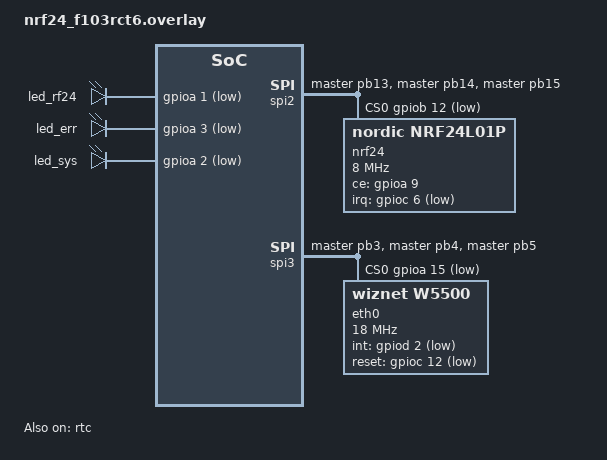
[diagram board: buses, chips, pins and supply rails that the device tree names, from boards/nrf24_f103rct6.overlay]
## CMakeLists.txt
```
# SPDX-License-Identifier: Apache-2.0

cmake_minimum_required(VERSION 3.20.0)

find_package(Zephyr REQUIRED HINTS $ENV{ZEPHYR_BASE})
project(n2e_gw)

target_include_directories(app PRIVATE include)
target_sources(app PRIVATE
  src/main.c
  src/rf24.c
  src/config.c
  src/persist.c
  src/udp.c
  src/led.c
)
target_sources_ifdef(CONFIG_SHELL app PRIVATE
  src/rf24_shell.c
  src/net_shell.c
)
```

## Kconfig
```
# SPDX-License-Identifier: Apache-2.0
# n2e-gw application configuration

mainmenu "n2e-gw"

source "Kconfig.zephyr"

config N2E_GW_RF24_RX_STACK
	int "RF24 RX thread stack size"
	default 1024

config N2E_GW_RF24_RX_PRIORITY
	int "RF24 RX thread priority"
	default 8

config N2E_GW_DATA_RX_STACK
	int "UDP data RX thread stack size"
	default 1024

config N2E_GW_DATA_RX_PRIORITY
	int "UDP data RX thread priority"
	default 10

config N2E_GW_UDP_TX_STACK
	int "UDP TX thread stack size"
	default 1024

config N2E_GW_UDP_TX_PRIORITY
	int "UDP TX thread priority"
	default 12
	help
	  Must be lower priority (higher number) than config RX (8) and
	  net TC RX thread, so data forwarding yields TX bandwidth to
	  config replies and ICMP echo replies.

config N2E_GW_UDP_INIT_PRIORITY
	int "UDP app handler init priority (must run before udp_fw_upgrade lib)"
	default 80
```

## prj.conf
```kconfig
CONFIG_MAIN_STACK_SIZE=2048
CONFIG_SHELL=y
CONFIG_SERIAL=y
CONFIG_GPIO=y
CONFIG_LOG=y
CONFIG_LOG_DEFAULT_LEVEL=3
CONFIG_LOG_BUFFER_SIZE=4096
CONFIG_LOG_BLOCK_IN_THREAD=y

# 软件栈溢出检测 (Cortex-M3 无 SPLIM, 板级未开 ARM_MPU, 故 HW_STACK_PROTECTION
# 无效; STACK_SENTINEL 在线程栈底埋 magic, 上下文切换/中断退出时检查,
# 踩踏 → K_ERR_STACK_CHK_FAIL → 点亮 PA2 错误灯)
CONFIG_STACK_SENTINEL=y

# SPI + nRF24L01P
CONFIG_SPI=y
CONFIG_NRF24L01P=y

# nRF24 链路层 XXTEA-CTR 加密 (用 rf24 地址作密钥; 须与 angle-handler 同时开关)
CONFIG_NRF24L01P_CRYPT=n

# SPI Flash (MCUBoot)
CONFIG_FLASH=y
CONFIG_SPI_NOR_SFDP_MINIMAL=n
CONFIG_SPI_NOR_FLASH_LAYOUT_PAGE_SIZE=4096
CONFIG_FLASH_MAP=y
CONFIG_IMG_MANAGER=y
CONFIG_STREAM_FLASH=y
CONFIG_REBOOT=y

# CRC
CONFIG_CRC=y

# UDP firmware upgrade library (self-contained: owns config port 8600)
CONFIG_UDP_FW_UPGRADE=y
# net_buf 128B 小分片, 大帧会占满 RX 池; 窗口流水线收益主要来自并发
CONFIG_UDP_FW_DATA_V2_CHUNK=512
CONFIG_UDP_FW_RX_STACK_SIZE=1536

# Settings persistent storage
CONFIG_SETTINGS=y
CONFIG_SETTINGS_RUNTIME=y
CONFIG_FCB=y

# Networking
CONFIG_NETWORKING=y
CONFIG_NET_IPV4=y
CONFIG_NET_UDP=y
CONFIG_NET_SOCKETS=y
CONFIG_POSIX_API=y
CONFIG_NET_L2_ETHERNET=y
CONFIG_NET_ARP=y
# ARP 表加大: 默认 2 时, 不可达 host_ip 的 pending 条目会把上位机/网关的已解析
# 条目挤掉, 引发额外解析延迟 (配合 zephyr ARP pending 队列上限补丁)
CONFIG_NET_ARP_TABLE_SIZE=4
CONFIG_NET_MGMT=y         /* 网络管理子系统; NET_MGMT_EVENT depends on 它 (非 select, 必须显式开) */
CONFIG_NET_MGMT_EVENT=y   /* 网络事件回调 (NET_EVENT_IF_UP 等) */
CONFIG_NET_DHCPV4=y       /* DHCP 客户端 (静态/DHCP 模式切换) */
# 网络缓冲: Ethernet 默认值 14/14/36/36 面向高吞吐多连接, 对本应用过量.
# 但过低 (原先 4/4/8/8) 在 nRF24 数据持续涌入时会引发级联饿死:
#   TX 池 (nRF24转发+ICMP+ARP+配置回复 共享) 耗尽 → sendto 阻塞 →
#   RX TC 线程无法释放 RX net_pkt → RX 池耗尽 → w5500_rx 阻塞 100ms →
#   w5500_thread 冻结 (不处理 SENDOK) → 全线停滞, ping 超时, 配置无响应.
# 8/8/16/16 在最差并发 (数据+ICMP+ARP+配置各 1, 留 2 余量) 下安全, 约增 3KB RAM.
CONFIG_NET_PKT_RX_COUNT=8
CONFIG_NET_PKT_TX_COUNT=8
CONFIG_NET_BUF_RX_COUNT=16
CONFIG_NET_BUF_TX_COUNT=16
# 固件升级 512B 包需 4 个 buf (512/128), 16 个充足; DATA_SIZE 保持默认 128
CONFIG_NET_BUF_DATA_SIZE=128
# 2 socket + DHCP 占 1, 4 足够
CONFIG_NET_MAX_CONN=4
CONFIG_TEST_RANDOM_GENERATOR=y

# hwinfo: 读 STM32 96-bit UID 派生 W5500 唯一 MAC (HWINFO_STM32 默认随 SOC 自动启用)
CONFIG_HWINFO=y
# 启用 ethernet net_mgmt (运行时 SET_MAC_ADDRESS 覆盖设备树 MAC)
CONFIG_NET_L2_ETHERNET_MGMT=y
# 关闭 ethernet 接口自动 up: net_if_post_init 不会自动拉起接口, 使 main 在
# net_if_up 之前处于 admin down, SET_MAC_ADDRESS 才能成功 (否则返回 -EACCES).
# 之后由 main 的 net_init() 手动 net_if_up.
CONFIG_ETH_NET_IF_NO_AUTO_START=y
```

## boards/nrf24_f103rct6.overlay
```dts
/*
 * n2e-gw board overlay for nrf24_f103rct6
 *
 * 硬件: nRF24L01+ (SPI2) <-> W5500 以太网 (SPI3)
 * nRF24 收到的数据通过 W5500 UDP 转发给上位机。
 */

/ {
	chosen {
		zephyr,ethernet = &eth0;
		zephyr,settings-partition = &cfg_partition;
	};

	aliases {
		led-rf24 = &led_rf24;   /* PA1: 2.4G 状态灯 (低电平亮) */
		led-err  = &led_err;    /* PA3: 错误灯 (低电平亮) */
		led-sys  = &led_sys;    /* PA2: 系统灯 (低电平亮) */
	};

	gpio_leds: leds {
		compatible = "gpio-leds";
		led_rf24: led-rf24 {
			gpios = <&gpioa 1 GPIO_ACTIVE_LOW>;
		};
		led_err: led-err {
			gpios = <&gpioa 3 GPIO_ACTIVE_LOW>;
		};
		led_sys: led-sys {
			gpios = <&gpioa 2 GPIO_ACTIVE_LOW>;
		};
	};
};

/* ================================================================
 * SPI2: nRF24L01P (SCK=PB13, MISO=PB14, MOSI=PB15, CS=PB12)
 * CE=PA9, IRQ=PC6
 * ================================================================ */
&spi2 {
	pinctrl-0 = <&spi2_sck_master_pb13
		     &spi2_miso_master_pb14
		     &spi2_mosi_master_pb15>;
	pinctrl-names = "default";
	cs-gpios = <&gpiob 12 GPIO_ACTIVE_LOW>;    /* nRF24 CS */
	status = "okay";

	nrf24: nrf24l01p@0 {
		compatible = "nordic,nrf24l01p";
		reg = <0x0>;
		spi-max-frequency = <8000000>;
		ce-gpios = <&gpioa 9 GPIO_ACTIVE_HIGH>;
		irq-gpios = <&gpioc 6 GPIO_ACTIVE_LOW>;
		channel = <1>;
		data-rate = "1m";
		tx-power = "0dbm";
		/* 半双工冲突优化: 缩短单次 TX 最坏占用 (ARD×ARC), 让冲突后更快切回
		 * PRX 给对端 ACK 机会. ARD=1500us + ARC=9 → 最坏 ~13.5ms (默认 4ms×15=60ms). */
		ard-us = <1500>;
		arc = <9>;
	};
};

&pinctrl {
	swj-cfg = "jtag-disable";
};
/* ================================================================
 * SPI3: W5500 以太网 (SCK=PB3, MISO=PB4, MOSI=PB5, CS=PA15)
 * INT=PD2, RST=PC12
 * 注: PB3/PB4/PA15 是 JTAG 引脚, Zephyr pinctrl 使用 SPI3_REMAP0 时
 *     自动设置 AFIO_MAPR_SWJ_CFG 释放 JTAG (保留 SWD)。
 * ================================================================ */
&spi3 {
	pinctrl-0 = <&spi3_sck_master_pb3
		     &spi3_miso_master_pb4
		     &spi3_mosi_master_pb5>;
	pinctrl-names = "default";
	cs-gpios = <&gpioa 15 GPIO_ACTIVE_LOW>;    /* W5500 CS */
	status = "okay";

	eth0: w5500@0 {
		compatible = "wiznet,w5500";
		reg = <0x0>;
		spi-max-frequency = <18000000>;
		int-gpios = <&gpiod 2 GPIO_ACTIVE_LOW>;
		reset-gpios = <&gpioc 12 GPIO_ACTIVE_LOW>;
		local-mac-address = [00 08 DC 01 02 03];
		status = "okay";
	};
};

/* ================================================================
 * RTC
 * ================================================================ */
&rtc {
	clocks = <&rcc STM32_CLOCK_BUS_APB1 0x10000000>,
		 <&rcc STM32_SRC_LSI RTC_SEL(2)>;
	status = "okay";
};
```

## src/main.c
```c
/*
 * Copyright (c) 2026 Kabirz.
 * SPDX-License-Identifier: Apache-2.0
 *
 * n2e-gw 主入口 - 数据中转网关
 * 接收 angle-handler 的 nRF24 数据，通过 W5500 UDP 转发给上位机
 */

#include <string.h>
#include <zephyr/kernel.h>
#include <zephyr/device.h>
#include <zephyr/settings/settings.h>
#include <n2e_gw.h>
#include <zephyr/app_version.h>
#include <fw_gitver.h>
#include <zephyr/net/net_if.h>
#include <zephyr/net/socket.h>
#include <zephyr/net/net_mgmt.h>
#include <zephyr/net/net_event.h>
#include <zephyr/net/ethernet.h>
#include <zephyr/net/ethernet_mgmt.h>
#include <zephyr/net/dhcpv4.h>
#include <zephyr/drivers/hwinfo.h>
#ifndef CONFIG_FLASH_SIZE
#define CONFIG_FLASH_SIZE 0x1000
#endif

#include <zephyr/logging/log.h>
LOG_MODULE_REGISTER(n2e_gw, LOG_LEVEL_INF);

n2e_gw_params_t gw_params;

/* ================================================================
 * 网络链路就绪事件
 * ================================================================
 * W5500 驱动在 PHY 检测到载波 (PHYCFGR.LNK) 后调 net_eth_carrier_on →
 * net_if_carrier_on (置 NET_IF_LOWER_UP) → update_operational_state: 接口
 * admin up 且 carrier ok 时 oper state → UP → notify_iface_up 发出
 * NET_EVENT_IF_UP. 此处用信号量捕获该事件, 替代原先固定 k_msleep(500) 的盲
 * 等待 (PHY 自动协商耗时不定, 网线未插时延时更毫无意义).
 * ================================================================ */
static K_SEM_DEFINE(net_link_sem, 0, 1);

/* 网络链路状态: IF_UP 置 true, IF_DOWN 置 false. gw_udp_send 据此决定是否转发. */
volatile bool gw_net_link_up;

/* 网络事件回调 (静态注册, 编译时进 section, 不受运行时注册时序影响).
 * 注意: Zephyr net_mgmt 的 mask 匹配按 layer 精确相等, 不同 layer 的事件
 * (IF_UP=L2, IPV4_ADDR_ADD=L3) 不能 OR 在同一个 mask 里, 否则全部匹配失败.
 * 故分成两个独立 handler 注册. IF_UP/IF_DOWN 同 layer 可共用一个. */

/* IF_UP/IF_DOWN: carrier 状态变化 → 唤醒 main + 启动 DHCP + 维护 gw_net_link_up. */
static void net_if_event_handler(uint64_t mgmt_event, struct net_if *iface,
				 void *info, size_t info_length, void *user_data)
{
	ARG_UNUSED(info);
	ARG_UNUSED(info_length);
	ARG_UNUSED(user_data);

	if (mgmt_event == NET_EVENT_IF_UP) {
		LOG_INF("net link up");
		gw_net_link_up = true;
		k_sem_give(&net_link_sem);
		/* DHCP 模式: carrier up 后才启动 DHCP 客户端 (启动早了 Discover 发不出) */
		if (gw_params.use_dhcp) {
			LOG_INF("Starting DHCPv4 client...");
			net_dhcpv4_start(iface);
		}
	} else if (mgmt_event == NET_EVENT_IF_DOWN) {
		LOG_WRN("net link down");
		gw_net_link_up = false;
	}
}

/* ADDR_ADD: IPv4 地址分配完成 → 打印 IP/掩码/网关 (DHCP 模式额外打印租期). */
static void net_ipv4_event_handler(uint64_t mgmt_event, struct net_if *iface,
				   void *info, size_t info_length, void *user_data)
{
	ARG_UNUSED(info);
	ARG_UNUSED(info_length);
	ARG_UNUSED(user_data);

	if (mgmt_event != NET_EVENT_IPV4_ADDR_ADD) {
		return;
	}
	for (int i = 0; i < NET_IF_MAX_IPV4_ADDR; i++) {
		if (iface->config.ip.ipv4->unicast[i].ipv4.addr_type !=
		    NET_ADDR_DHCP && iface->config.ip.ipv4->unicast[i].ipv4.addr_type !=
		    NET_ADDR_MANUAL) {
			continue;
		}
		char buf[NET_IPV4_ADDR_LEN];

		net_addr_ntop(AF_INET,
			      &iface->config.ip.ipv4->unicast[i].ipv4.address.in_addr,
			      buf, sizeof(buf));
		LOG_INF("IPv4 address: %s", buf);
		net_addr_ntop(AF_INET, &iface->config.ip.ipv4->unicast[i].netmask,
			      buf, sizeof(buf));
		LOG_INF("IPv4 netmask: %s", buf);
		net_addr_ntop(AF_INET, &iface->config.ip.ipv4->gw, buf, sizeof(buf));
		LOG_INF("IPv4 gateway: %s", buf);
		if (iface->config.ip.ipv4->unicast[i].ipv4.addr_type == NET_ADDR_DHCP) {
			LOG_INF("DHCP lease time: %u seconds", iface->config.dhcpv4.lease_time);
		}
		break;
	}
}

NET_MGMT_REGISTER_EVENT_HANDLER(net_if_handler_cb,
				NET_EVENT_IF_UP | NET_EVENT_IF_DOWN,
				net_if_event_handler, NULL);
NET_MGMT_REGISTER_EVENT_HANDLER(net_ipv4_handler_cb, NET_EVENT_IPV4_ADDR_ADD,
				net_ipv4_event_handler, NULL);

/* ================================================================
 * MAC 派生: 用 STM32 96-bit UID 生成唯一 MAC, 覆盖设备树默认值
 * ================================================================
 * 设备树 local-mac-address 是固定值 (00:08:DC:01:02:03), 同型号多块板会冲突.
 * 这里前 3B 沿用 Wiznet OUI (00:08:DC), 末 3B 由 hwinfo 读出的 12B UID 折叠
 * 而来, 保证每块板有不同 MAC. SET_MAC_ADDRESS 要求接口 admin down (在 net_if_up
 * 前调用), 同时会更新 W5500 SHAR 寄存器 + net_if link_addr.
 */
static void derive_mac_from_uid(uint8_t *mac)
{
	static const uint8_t oui[3] = { 0x00, 0x08, 0xDC };
	uint8_t uid[12];
	ssize_t n = hwinfo_get_device_id(uid, sizeof(uid));

	mac[0] = oui[0];
	mac[1] = oui[1];
	mac[2] = oui[2];

	if (n >= (ssize_t)sizeof(uid)) {
		/* 12B UID 折叠成 3B: 每 4B 异或到 1B, 充分利用全部熵 */
		mac[3] = uid[0] ^ uid[3] ^ uid[6] ^ uid[9];
		mac[4] = uid[1] ^ uid[4] ^ uid[7] ^ uid[10];
		mac[5] = uid[2] ^ uid[5] ^ uid[8] ^ uid[11];
	} else {
		/* 取不到 UID: 回退设备树默认后缀, 至少能与 OUI 拼成合法 MAC */
		mac[3] = 0x01;
		mac[4] = 0x02;
		mac[5] = 0x03;
	}
}

/* ================================================================
 * 网络初始化 (静态 IP / DHCP)
 * ================================================================ */
static int net_init(void)
{
	struct net_if *iface = net_if_get_default();

	if (!iface) {
		LOG_ERR("No network interface found");
		return -ENODEV;
	}

	/* 用 UID 派生唯一 MAC 覆盖设备树默认值. 接口自动 up 已通过
	 * CONFIG_ETH_NET_IF_NO_AUTO_START 关闭 (net_if_post_init 不会自动 up ethernet
	 * 接口), 故此时接口处于 admin down, SET_MAC_ADDRESS 可直接成功. 之后 net_if_up
	 * 手动拉起. 失败则沿用设备树 MAC. */
	uint8_t mac[NET_ETH_ADDR_LEN];
	struct ethernet_req_params params;

	derive_mac_from_uid(mac);
	memcpy(params.mac_address.addr, mac, NET_ETH_ADDR_LEN);
	if (net_mgmt(NET_REQUEST_ETHERNET_SET_MAC_ADDRESS, iface,
		     &params, sizeof(params)) != 0) {
		LOG_WRN("set MAC from UID failed, using DT default");
	} else {
		LOG_INF("MAC (from UID): %02x:%02x:%02x:%02x:%02x:%02x",
			mac[0], mac[1], mac[2], mac[3], mac[4], mac[5]);
	}

	/* 事件回调已静态注册 (NET_MGMT_REGISTER_EVENT_HANDLER). */
	if (gw_params.use_dhcp) {
		/* DHCP 模式: 只 up 接口, DHCP 客户端在 IF_UP 回调里启动
		 * (carrier 就绪后再启动, 否则 Discover 发不出) */
		LOG_INF("DHCP mode, waiting for link up...");
		net_if_up(iface);
	} else {
		/* 静态模式: 掩码固定 /24; 网关 = IP 末段改 1 (a.b.c.1), 不存储 */
		struct in_addr addr, mask, gw;

		if (net_addr_pton(AF_INET, gw_params.ip_addr, &addr) < 0) {
			LOG_ERR("Invalid IP address: %s", gw_params.ip_addr);
			return -EINVAL;
		}
		mask.s_addr = htonl(0xFFFFFF00);
		memcpy(&gw, &addr, sizeof(gw));
		((uint8_t *)&gw.s_addr)[3] = 1;

		net_if_ipv4_addr_add(iface, &addr, NET_ADDR_MANUAL, 0);
		net_if_ipv4_set_netmask_by_addr(iface, &addr, &mask);
		net_if_ipv4_set_gw(iface, &gw);

		/* 触发接口 administrative up: 幂等. oper state 由 (admin up + carrier) 决定,
		 * 是 NET_EVENT_IF_UP 的可靠触发点. */
		net_if_up(iface);

		char gw_str[NET_IPV4_ADDR_LEN];
		net_addr_ntop(AF_INET, &gw, gw_str, sizeof(gw_str));
		LOG_INF("Network: %s/24 gw %s", gw_params.ip_addr, gw_str);
	}
	return 0;
}

int main(void)
{
	LOG_INF("build time: %s-%s", __DATE__, __TIME__);
	LOG_INF("board: %s, system clk: %dMHz", CONFIG_BOARD_TARGET,
		CONFIG_SYS_CLOCK_HW_CYCLES_PER_SEC / MHZ(1));
	LOG_INF("flash size: %dKB, ram size: %dKB", CONFIG_FLASH_SIZE, CONFIG_SRAM_SIZE);
	LOG_INF("version: v%d.%d.%d_%s", APP_VERSION_MAJOR, APP_VERSION_MINOR,
		APP_PATCHLEVEL, FW_GIT_VERSION);

	/* 初始化默认配置 */
	memset(gw_params.rf24_addr, 0, RF24_ADDR_LEN);
	strncpy(gw_params.ip_addr, N2E_GW_DEFAULT_IP, sizeof(gw_params.ip_addr) - 1);
	gw_params.data_port = N2E_GW_DATA_PORT_DEFAULT;
	gw_params.use_dhcp = GW_USE_DHCP_DEFAULT;
	strncpy(gw_params.host_ip, N2E_GW_HOST_DEFAULT_IP, sizeof(gw_params.host_ip) - 1);
	gw_params.host_port = N2E_GW_HOST_PORT_DEFAULT;
	gw_params.log = false;   /* nRF24 详细日志默认关 (shell: rf24 log 1 开启) */

	/* 加载持久化配置 (覆盖默认值) */
	gw_config_load();

	/* 初始化状态灯 (PA1 rf24 常亮收发闪, PA2 sys 灭, PA3 err 灭) */
	gw_led_init();

	/* 初始化各模块 */
	gw_rf24_init();

	net_init();

	/* 等待 PHY 链路 up: 若 net_init() 注册回调时链路已 up (oper state 已 UP)
	 * 则直接跳过; 否则等 NET_EVENT_IF_UP 信号量. 带超时兜底, 避免网线未插时
	 * 永久阻塞 (UDP 收发线程独立运行, 链路恢复后自然恢复转发). */
	struct net_if *iface = net_if_get_default();

	if (iface != NULL && net_if_oper_state(iface) != NET_IF_OPER_UP) {
		if (k_sem_take(&net_link_sem, K_SECONDS(5)) != 0) {
			LOG_WRN("net link up timeout, continue anyway");
		}
	}

	gw_params.running = true;
	LOG_INF("n2e-gw ready");

	/* 点亮系统灯 PA2 - 标志进入主循环 (系统就绪) */
	gw_led_sys_on();

	while (1) {
		k_sleep(K_MSEC(1000));
	}

	return 0;
}
```

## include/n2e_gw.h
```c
/*
 * Copyright (c) 2026 Kabirz.
 * SPDX-License-Identifier: Apache-2.0
 *
 * n2e-gw application common definitions
 */

#ifndef __N2E_GW_H__
#define __N2E_GW_H__

#include <zephyr/kernel.h>
#include <zephyr/net/net_ip.h>
#include <stdbool.h>
#include <stdint.h>

/* ================================================================
 * RF24 地址配置 (信道固定为 1, 不可配)
 * ================================================================ */
#define RF24_ADDR_LEN    5
#define RF24_FIXED_CH    1

/* ================================================================
 * 帧 ID (与 angle-handler 保持一致; nRF24/UDP 帧协议的逻辑标识符,
 * 复用历史 CAN 11-bit 编号, 已与 CAN 总线无关)
 * ================================================================ */
enum can_ids {
	COBID_HEATBEAT = 0x763,
	TEST_FRAME = 0x777,
	HANDLER_STATE = 0x1E3,
	OVERBREAK_LASER = 0x263,
	COORD_XY = 0x363,
	COORD_Z = 0x463,
};

/* UDP 配置命令 (走配置端口 8600, 由 udp_fw_upgrade 库 RX 线程分发到 app_cmd_handler).
 * 0x01-0x05 由库内部处理 (FW_START/DATA/END/GET_VERSION/REBOOT), 不会到达此处.
 * 静态模式下掩码固定 255.255.255.0, 网关 = IP 末段改 1 (a.b.c.1), 均不在帧中传输.
 * DHCP 模式下 IP/掩码/网关由 DHCP 服务器分配, DISCOVER 回复 live interface 地址. */
enum udp_cmd {
	UDP_CMD_SET_IP  = 0x10,   /* [ip 4B] → 回 [1B: 1=成功/0=失败] (持久化, 重启生效) */
	UDP_CMD_GET_NET = 0x11,   /* (空) → [data_port 2B][host_ip 4B][host_port 2B] = 8B */
	UDP_CMD_SET_RF24 = 0x12,   /* [addr 5B] → 回显 5B (信道固定为 1, 不在帧中) */
	UDP_CMD_GET_RF24 = 0x13,   /* (空) → [addr 5B] = 5B */
	UDP_CMD_SET_HOST = 0x14,   /* [host ip 4B][port 2B BE] = 6B → 回显同序 6B (持久化) */
	UDP_CMD_DISCOVER = 0x15,  /* (空) → [ip 4B][config_port 2B] = 6B (广播发现) */
	UDP_CMD_FACTORY_RESET = 0x16, /* (空) → [1B: 1=成功/0=失败] (擦除全部配置后自动重启, 恢复默认) */
};

/* ================================================================
 * 网络默认配置
 * 静态模式: 掩码固定 255.255.255.0, 网关 = IP 末段改 1 (运行时派生, 不存储)
 * DHCP 模式: IP/掩码/网关由 DHCP 服务器分配
 * ================================================================ */
#define N2E_GW_DEFAULT_IP       "192.168.11.100"
#define N2E_GW_DATA_PORT_DEFAULT 9600  /* 数据端口 (本机监听, nRF24↔上位机透传) */
#define GW_USE_DHCP_DEFAULT      0     /* 默认静态 IP (0=静态, 1=DHCP) */
#define N2E_GW_HOST_DEFAULT_IP  "192.168.11.150"  /* 上位机 IP (nRF24 数据转发目标, 可配) */
#define N2E_GW_HOST_PORT_DEFAULT 9602  /* 上位机接收端口 (nRF24 数据转发目标端口, 可配) */

/* ================================================================
 * 全局状态
 * ================================================================ */
typedef struct {
	/* RF24 配置 (信道固定 RF24_FIXED_CH=1, 不存储; 仅地址可配) */
	uint8_t rf24_addr[RF24_ADDR_LEN];

	/* 网络配置 (静态模式下掩码固定 /24, 网关由 IP 派生, 均不存储;
	 *           DHCP 模式下 IP/掩码/网关由 DHCP 分配) */
	char ip_addr[16];     /* 静态 IP (DHCP 模式下仅作 fallback) */
	uint16_t data_port;   /* 数据端口 (可配, 默认 N2E_GW_DATA_PORT_DEFAULT) */
	uint8_t use_dhcp;     /* 0=静态 IP, 1=DHCP (持久化, 重启生效) */

	/* 上位机 (HOST) 目标配置: nRF24 数据固定转发到 host_ip:host_port
	 * (可配, 默认 N2E_GW_HOST_DEFAULT_IP:N2E_GW_HOST_PORT_DEFAULT, 持久化) */
	char host_ip[16];
	uint16_t host_port;

	/* 运行状态 */
	volatile bool running;
	bool log;             /* nRF24 收发详细日志开关 (shell: rf24 log [0/1]) */
	struct k_event event;
} n2e_gw_params_t;

extern n2e_gw_params_t gw_params;

/* 网络链路状态 (main.c 的 NET_EVENT_IF_UP/DOWN 回调维护).
 * gw_udp_send 据此决定是否转发 nRF24 数据到上位机. */
extern volatile bool gw_net_link_up;

/* ================================================================
 * 接口声明
 * ================================================================ */

/* led.c */
void gw_led_init(void);            /* 初始化三路 LED: PA1 rf24常亮收发闪, PA2/PA3灭 */
void gw_led_sys_on(void);          /* 点亮系统灯 PA2 */
void gw_led_error_on(void);        /* 点亮错误灯 PA3 (锁定, 不可灭) */
void gw_led_rf24_activity(void);   /* 标记 2.4G 收发活动 (启动固定频率闪烁) */

/* rf24.c */
void gw_rf24_init(void);
void gw_rf24_set_config(const uint8_t *addr);
bool gw_rf24_send(uint16_t can_id, const uint8_t *data, size_t len);

/**
 * @brief 测试帧 (TEST_FRAME 0x777) 接收回调 (rf24_shell.c 实现)
 */
void rf24_test_handle_rx(const uint8_t *data, uint8_t len);

/* udp.c */
void gw_udp_send(const uint8_t *data, size_t len);

/* 取本机 live IPv4 地址 (DHCP 分配或静态配置的当前地址), 失败返回 NULL.
 * DHCP 模式下 gw_params.ip_addr 是旧静态值, 需从 live interface 读. */
struct in_addr *gw_get_live_ipv4(void);

/* config.c */
void gw_config_save(void);
void gw_config_load(void);

/* persist.c */
void persist_save_rf24_config(void);
void persist_save_network_config(void);

#endif /* __N2E_GW_H__ */
```

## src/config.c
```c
/*
 * Copyright (c) 2026 Kabirz.
 * SPDX-License-Identifier: Apache-2.0
 *
 * 配置管理 - 读取/保存网关配置
 */

#include <zephyr/logging/log.h>
#include <zephyr/settings/settings.h>
#include <n2e_gw.h>

LOG_MODULE_REGISTER(gw_config, LOG_LEVEL_INF);

void gw_config_load(void)
{
	settings_load();
	LOG_INF("Config loaded");
}

void gw_config_save(void)
{
	persist_save_rf24_config();
	persist_save_network_config();
}
```

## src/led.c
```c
/*
 * Copyright (c) 2026 Kabirz.
 * SPDX-License-Identifier: Apache-2.0
 *
 * 三路状态灯管理
 *   PA1 (led_rf24): 2.4G 活动灯 - 平时常亮, 收发时以固定频率闪烁
 *   PA3 (led_err):  错误灯     - 开机自检闪一下 (150ms) 后熄灭; 栈溢出/hardfault/
 *                                关键硬件初始化失败点亮, 锁定不灭
 *   PA2 (led_sys):  系统灯     - 进入 main 循环前点亮
 *
 * 全部低电平亮 (GPIO_ACTIVE_LOW), 通过 DT 描述; 代码用 gpio_pin_set_dt 的逻辑电平
 * (1=亮, 0=灭), 不关心物理极性.
 */

#include <zephyr/kernel.h>
#include <zephyr/drivers/gpio.h>
#include <zephyr/logging/log.h>
#include <n2e_gw.h>

LOG_MODULE_REGISTER(gw_led, LOG_LEVEL_INF);

/* DT alias 引用, 编译期校验引脚存在 */
static const struct gpio_dt_spec led_rf24 = GPIO_DT_SPEC_GET(DT_ALIAS(led_rf24), gpios);
static const struct gpio_dt_spec led_err  = GPIO_DT_SPEC_GET(DT_ALIAS(led_err), gpios);
static const struct gpio_dt_spec led_sys  = GPIO_DT_SPEC_GET(DT_ALIAS(led_sys), gpios);

static void led_blink_work_handler(struct k_work *work);

/* 2.4G 活动指示: 平时常亮, 收发时以固定频率闪烁 (亮/灭各半周期).
 * 用固定频率翻转而非跟随每次收发 —— 高速通信时收发间隔远小于人眼
 * 响应, 跟随式亮脉冲/灭窗都会被吞掉 (退化为常亮或常灭, 完全无感);
 * 固定 ~5Hz 翻转无论通信快慢都稳定可见. 收发停止超过超时后恢复常亮. */
#define RF24_BLINK_HALF_PERIOD_MS  100   /* 半周期: 亮100ms灭100ms → 5Hz */
#define RF24_ACTIVITY_TIMEOUT_MS   400   /* 无收发超过此值视为通信停止, 恢复常亮 */
static struct k_work_delayable led_blink_work;
static volatile uint32_t rf24_last_activity;
/* 闪烁周期是否在跑 (避免收发路径重复提交 work) */
static volatile bool blinking;

/* 错误灯锁定标志 - 一旦置位, 不再熄灭 */
static volatile bool error_latched;

/* 开机自检: 故障灯点亮 ERR_SELFTEST_MS 后熄灭 (仅指示 LED/GPIO 通路正常,
 * 不置 latch). 用 delayed work 非阻塞, 不拖慢后续初始化. */
#define ERR_SELFTEST_MS 150
static struct k_work_delayable err_selftest_work;

static void err_selftest_work_handler(struct k_work *work)
{
	ARG_UNUSED(work);

	gpio_pin_set_dt(&led_err, 0);
}

/* ================================================================
 * 初始化: PA1/PA2/PA3 配置为输出, 默认全灭; 随后点亮 PA1 (常亮=就绪),
 * 故障灯做一次开机自检闪烁 (亮 150ms 后自动熄灭).
 * ================================================================ */
void gw_led_init(void)
{
	gpio_pin_configure_dt(&led_rf24, GPIO_OUTPUT_INACTIVE);  /* 初始灭 */
	gpio_pin_configure_dt(&led_err,  GPIO_OUTPUT_INACTIVE);
	gpio_pin_configure_dt(&led_sys,  GPIO_OUTPUT_INACTIVE);

	gpio_pin_set_dt(&led_rf24, 1);   /* 平时常亮 (2.4G 就绪) */
	gpio_pin_set_dt(&led_err,  1);   /* 开机自检: 点亮故障灯 */
	gpio_pin_set_dt(&led_sys,  0);

	k_work_init_delayable(&led_blink_work, led_blink_work_handler);
	blinking = false;
	k_work_init_delayable(&err_selftest_work, err_selftest_work_handler);
	k_work_schedule(&err_selftest_work, K_MSEC(ERR_SELFTEST_MS));
}

void gw_led_sys_on(void)
{
	gpio_pin_set_dt(&led_sys, 1);
}

void gw_led_error_on(void)
{
	error_latched = true;
	gpio_pin_set_dt(&led_err, 1);
}

/* 闪烁翻转: 每半个周期翻转一次 LED.
 * 仍在活跃窗口内 → 翻转 + 排下一次; 超时 (通信停止) → 停止翻转, 置常亮. */
static void led_blink_work_handler(struct k_work *work)
{
	ARG_UNUSED(work);

	uint32_t elapsed = k_uptime_get_32() - rf24_last_activity;

	if (elapsed < RF24_ACTIVITY_TIMEOUT_MS) {
		/* 用读当前电平来翻转, 避免维护额外状态变量 */
		int cur = gpio_pin_get_dt(&led_rf24);

		gpio_pin_set_dt(&led_rf24, cur ? 0 : 1);
		k_work_reschedule(&led_blink_work, K_MSEC(RF24_BLINK_HALF_PERIOD_MS));
	} else {
		/* 通信停止: 恢复常亮, 标记闪烁周期结束 */
		gpio_pin_set_dt(&led_rf24, 1);
		blinking = false;
	}
}

void gw_led_rf24_activity(void)
{
	rf24_last_activity = k_uptime_get_32();
	/* 仅在闪烁未启动时提交, 避免收发路径重复排 work (零阻塞) */
	if (!blinking) {
		blinking = true;
		gpio_pin_set_dt(&led_rf24, 0);   /* 进入闪烁: 先灭, 开始第一个半周期 */
		k_work_reschedule(&led_blink_work, K_MSEC(RF24_BLINK_HALF_PERIOD_MS));
	}
}

/* ================================================================
 * Zephyr fatal error handler - 覆盖默认弱符号
 * CPU 异常 (hardfault 等) 时点亮错误灯锁定, 之后交还默认处理流程
 * (不做 reboot, 让系统进入 fault dump / LOG_PANIC 以便调试).
 * 注: STM32F1 (Cortex-M3) 无 MPU, 硬件栈保护不可用, K_ERR_STACK_CHK_FAIL
 *     不会触发; 但 K_ERR_CPU_EXCEPTION (hardfault) 仍会被此 handler 捕获.
 * ================================================================ */
void k_sys_fatal_error_handler(unsigned int reason, const struct arch_esf *esf)
{
	ARG_UNUSED(esf);

	if (reason == K_ERR_STACK_CHK_FAIL || reason == K_ERR_CPU_EXCEPTION) {
		/* fatal 上下文 (栈已损/ISR 中) 不调 LOG, 仅点亮错误灯这一可靠副作用.
		 * 之后交还默认 fatal 处理流程做 dump/panic. */
		gw_led_error_on();
	}
}
```

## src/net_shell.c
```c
/*
 * Copyright (c) 2026 Kabirz.
 * SPDX-License-Identifier: Apache-2.0
 *
 * UDP 网络链路测试 shell 命令 — 模拟数据源, 验证 UDP 双端口链路
 *
 *   gw info              查看网络配置 (IP/掩码固定/网关/端口)
 *   gw send <id> <hex..> 发送数据帧 [帧ID 2B BE][payload]
 *   gw ping [count=5]    发送 TEST_FRAME (0x777) 计数测试
 *   gw ip <addr>         设置 IP (并持久化)
 *   gw port <port>       设置数据端口 (并持久化)
 *   gw bench tx [n] [sz] [ip] [port]   单向 TX 吞吐基准
 *   gw bench rx [port] [duration_ms]   单向 RX 吞吐基准
 *   gw bench bidir [dur_ms] [sz] [rx_port]  双向同时收发基准
 *
 * (从 gateway_udp_test/src/shell.c 移植, 去掉数据端口 echo 回显 — n2e-gw 的
 *  UDP 数据端口只做 nRF24↔UDP 透传, 无回显机制)
 */

#include <zephyr/kernel.h>
#include <zephyr/device.h>
#include <zephyr/net/net_ip.h>
#include <zephyr/net/socket.h>
#include <zephyr/posix/unistd.h>
#include <zephyr/posix/arpa/inet.h>
#include <zephyr/shell/shell.h>
#include <zephyr/logging/log.h>
#include <zephyr/sys/byteorder.h>
#include <zephyr/sys/sys_io.h>
#include <zephyr/storage/flash_map.h>
#include <stdlib.h>
#include <stdio.h>
#include <string.h>
#include <errno.h>
#include <n2e_gw.h>

LOG_MODULE_REGISTER(gw_net_shell, LOG_LEVEL_INF);

#define GW_SHELL_PAYLOAD_MAX 64

/* ================================================================
 * Shell handlers
 * ================================================================ */

static int cmd_gw_info(const struct shell *ctx, size_t argc, char **argv)
{
	ARG_UNUSED(argc);
	ARG_UNUSED(argv);

	/* 显示 live IP (DHCP 分配或静态配置的当前地址) */
	char ip_str[NET_IPV4_ADDR_LEN] = "-";
	struct in_addr *live = gw_get_live_ipv4();

	if (live) {
		net_addr_ntop(AF_INET, live, ip_str, sizeof(ip_str));
	}
	shell_print(ctx, "ip:        %s (%s)", ip_str, gw_params.use_dhcp ? "DHCP" : "static");
	if (gw_params.use_dhcp) {
		shell_print(ctx, "netmask:   (from DHCP)");
		shell_print(ctx, "gateway:   (from DHCP)");
	} else {
		/* 静态模式: 掩码固定 /24, 网关 = IP 末段改 1 (运行时派生) */
		struct in_addr gw;

		if (net_addr_pton(AF_INET, gw_params.ip_addr, &gw) == 0) {
			((uint8_t *)&gw.s_addr)[3] = 1;
			net_addr_ntop(AF_INET, &gw, ip_str, sizeof(ip_str));
		} else {
			ip_str[0] = '-';
			ip_str[1] = '\0';
		}
		shell_print(ctx, "netmask:   255.255.255.0 (fixed)");
		shell_print(ctx, "gateway:   %s (derived)", ip_str);
	}
	shell_print(ctx, "data port: %d", gw_params.data_port);
	shell_print(ctx, "cfg port:  %d", CONFIG_UDP_FW_CONFIG_PORT);
	shell_print(ctx, "running:   %s", gw_params.running ? "yes" : "no");
	return 0;
}

static int cmd_gw_send(const struct shell *ctx, size_t argc, char **argv)
{
	if (argc < 3) {
		shell_error(ctx, "usage: gw send <id_hex> <b0> [b1] ...  (payload hex bytes)");
		return -EINVAL;
	}

	long id = strtol(argv[1], NULL, 16);
	if (id < 0 || id > 0x7FF) {
		shell_error(ctx, "invalid frame id: %s (0-0x7FF)", argv[1]);
		return -EINVAL;
	}

	uint8_t buf[GW_SHELL_PAYLOAD_MAX];
	size_t off = 2;

	sys_put_be16((uint16_t)id, buf);

	for (int i = 2; i < argc && off < sizeof(buf); i++) {
		long v = strtol(argv[i], NULL, 16);

		if (v < 0 || v > 0xFF) {
			shell_error(ctx, "invalid byte: %s", argv[i]);
			return -EINVAL;
		}
		buf[off++] = (uint8_t)v;
	}

	gw_udp_send(buf, off);
	shell_print(ctx, "TX id=0x%03x len=%zu", (uint16_t)id, off);
	return 0;
}

static int cmd_gw_ping(const struct shell *ctx, size_t argc, char **argv)
{
	int count = 5;

	if (argc >= 2) {
		count = (int)strtol(argv[1], NULL, 10);
		if (count < 1) {
			count = 1;
		} else if (count > 1000) {
			count = 1000;
		}
	}

	/* TEST_FRAME (0x777) 帧格式: [0x07 0x77][seq] */
	uint8_t seq = 0;

	shell_print(ctx, "ping TEST_FRAME(0x777) x%d (loopback via peer)...", count);

	for (int i = 0; i < count; i++) {
		uint8_t buf[3];

		sys_put_be16(TEST_FRAME, buf);
		buf[2] = seq++;
		gw_udp_send(buf, sizeof(buf));
		shell_print(ctx, "  [%d] TX seq=%02x", i + 1, buf[2]);
		k_msleep(200);
	}

	shell_print(ctx, "done (check if host PC received)");
	return 0;
}

static int cmd_gw_ip(const struct shell *ctx, size_t argc, char **argv)
{
	if (argc < 2) {
		/* 显示 live IP (DHCP 模式下是服务器分配的地址) */
		struct in_addr *live = gw_get_live_ipv4();
		char ip_str[NET_IPV4_ADDR_LEN];

		if (live) {
			net_addr_ntop(AF_INET, live, ip_str, sizeof(ip_str));
			shell_print(ctx, "ip: %s (%s)", ip_str,
				    gw_params.use_dhcp ? "DHCP" : "static");
		} else {
			shell_print(ctx, "ip: (no address, stored=%s)", gw_params.ip_addr);
		}
		return 0;
	}
	if (gw_params.use_dhcp) {
		shell_error(ctx, "cannot set static IP in DHCP mode");
		return -EINVAL;
	}
	if (strlen(argv[1]) >= sizeof(gw_params.ip_addr)) {
		shell_error(ctx, "ip too long");
		return -EINVAL;
	}
	strncpy(gw_params.ip_addr, argv[1], sizeof(gw_params.ip_addr) - 1);
	gw_params.ip_addr[sizeof(gw_params.ip_addr) - 1] = '\0';
	persist_save_network_config();
	shell_print(ctx, "ip set to %s (takes effect after reboot)", gw_params.ip_addr);
	return 0;
}

static int cmd_gw_port(const struct shell *ctx, size_t argc, char **argv)
{
	if (argc < 2) {
		shell_print(ctx, "data port: %d", gw_params.data_port);
		return 0;
	}
	long p = strtol(argv[1], NULL, 10);
	if (p < 1 || p > 65535) {
		shell_error(ctx, "invalid port: %s (1-65535)", argv[1]);
		return -EINVAL;
	}
	gw_params.data_port = (uint16_t)p;
	persist_save_network_config();
	shell_print(ctx, "data port set to %d (takes effect after reboot)", gw_params.data_port);
	return 0;
}

static int cmd_gw_reset(const struct shell *ctx, size_t argc, char **argv)
{
	ARG_UNUSED(argc);
	ARG_UNUSED(argv);

	/* 擦除整个 settings 分区 (FCB 后端), 清除所有持久化配置.
	 * 擦除后 gw_params 内存值仍在, 但重启后 settings 为空, 代码用默认值重新初始化. */
	const struct flash_area *fa;
	int rc = flash_area_open(PARTITION_ID(cfg_partition), &fa);

	if (rc != 0) {
		shell_error(ctx, "open settings partition failed: %d", rc);
		return -EIO;
	}
	rc = flash_area_erase(fa, 0, fa->fa_size);
	flash_area_close(fa);
	if (rc != 0) {
		shell_error(ctx, "erase settings partition failed: %d", rc);
		return -EIO;
	}
	shell_print(ctx, "All settings cleared (rf24/ip/port/dhcp)");
	shell_print(ctx, "Reboot to apply defaults");
	return 0;
}

/* ================================================================
 * UDP 性能测试 (gw bench tx / gw bench rx)
 * ================================================================
 * 单向吞吐量基准, 用于验证 W5500 网络收发性能及配置通道抗饿死能力.
 *
 * bench tx [count=100] [size=64] [ip] [port=19602]
 *   直接 socket sendto 发包 (绕过 gw_udp_send/msgq), 测量原始 TX 吞吐.
 *   包载荷: [seq 4B LE][0xAA 填充], 上位机可用任意 UDP 收包工具统计.
 *
 * bench rx [port=19601] [duration_ms=5000]
 *   临时 socket 绑定 port 收包统计; 上位机用 UDP 发包工具连续发包.
 *
 * bench bidir [duration_ms=5000] [size=64] [rx_port=19601]
 *   同一 socket 既发又收: TX→host_ip:19602 + RX on rx_port.
 *   每包 TX 后排空 RX (限 32 包/周期), 测量双向吞吐.
 *   测试端口使用五位数 (19601/19602), 避开业务端口 (9600/9602/8600).
 * ================================================================ */
#define BENCH_TX_COUNT_DEF	100
#define BENCH_TX_COUNT_MAX	1000
#define BENCH_TX_SIZE_DEF	64
#define BENCH_TX_SIZE_MAX	1024
#define BENCH_RX_DUR_DEF	5000
#define BENCH_RX_DUR_MAX	30000
#define BENCH_PORT_TX_DEF	19602   /* bench TX 目标端口 (PC 收包), 避开业务端口 */
#define BENCH_PORT_RX_DEF	19601   /* bench RX 监听端口 (PC 发包), 避开业务端口 */

static uint8_t bench_buf[BENCH_TX_SIZE_MAX];

static int cmd_bench_tx(const struct shell *ctx, size_t argc, char **argv)
{
	int count = BENCH_TX_COUNT_DEF;
	int size = BENCH_TX_SIZE_DEF;
	const char *ip = gw_params.host_ip;
	int port = BENCH_PORT_TX_DEF;

	if (argc >= 2) {
		count = (int)strtol(argv[1], NULL, 10);
		if (count < 1) {
			count = 1;
		}
		if (count > BENCH_TX_COUNT_MAX) {
			count = BENCH_TX_COUNT_MAX;
		}
	}
	if (argc >= 3) {
		size = (int)strtol(argv[2], NULL, 10);
		if (size < 1) {
			size = 1;
		}
		if (size > BENCH_TX_SIZE_MAX) {
			size = BENCH_TX_SIZE_MAX;
		}
	}
	if (argc >= 4) {
		ip = argv[3];
	}
	if (argc >= 5) {
		port = (int)strtol(argv[4], NULL, 10);
		if (port < 1 || port > 65535) {
			shell_error(ctx, "invalid port: %s", argv[4]);
			return -EINVAL;
		}
	}

	if (!gw_net_link_up) {
		shell_error(ctx, "net link down");
		return -EIO;
	}

	int sock = socket(AF_INET, SOCK_DGRAM, IPPROTO_UDP);

	if (sock < 0) {
		shell_error(ctx, "socket create failed: %d", errno);
		return -EIO;
	}

	struct sockaddr_in dst = {
		.sin_family = AF_INET,
		.sin_port = htons(port),
	};

	if (inet_pton(AF_INET, ip, &dst.sin_addr) != 1) {
		shell_error(ctx, "invalid ip: %s", ip);
		close(sock);
		return -EINVAL;
	}

	memset(bench_buf, 0xAA, sizeof(bench_buf));
	shell_print(ctx, "TX bench: %d pkts x %d B -> %s:%d", count, size, ip, port);

	uint32_t t0 = k_uptime_get_32();
	int sent = 0;
	int fail = 0;

	for (int i = 0; i < count; i++) {
		sys_put_le32((uint32_t)i, bench_buf);   /* seq 供接收端统计丢包 */
		int ret = sendto(sock, bench_buf, size, 0,
				 (struct sockaddr *)&dst, sizeof(dst));
		if (ret < 0) {
			fail++;
			if (fail <= 3) {
				shell_warn(ctx, "  sendto failed @%d: errno %d", i, errno);
			}
		} else {
			sent++;
		}
	}

	uint32_t elapsed = k_uptime_get_32() - t0;
	close(sock);

	uint32_t total_bytes = (uint32_t)sent * (uint32_t)size;

	shell_print(ctx, "done: %d sent, %d failed", sent, fail);
	shell_print(ctx, "data: %u B in %u ms", total_bytes, elapsed);
	if (elapsed > 0) {
		shell_print(ctx, "rate: %u pkt/s, %u B/s",
			    (uint32_t)sent * 1000U / elapsed,
			    total_bytes * 1000U / elapsed);
	}
	return 0;
}

static int cmd_bench_rx(const struct shell *ctx, size_t argc, char **argv)
{
	int port = BENCH_PORT_RX_DEF;
	int duration = BENCH_RX_DUR_DEF;

	if (argc >= 2) {
		port = (int)strtol(argv[1], NULL, 10);
		if (port < 1 || port > 65535) {
			shell_error(ctx, "invalid port: %s", argv[1]);
			return -EINVAL;
		}
	}
	if (argc >= 3) {
		duration = (int)strtol(argv[2], NULL, 10);
		if (duration < 100) {
			duration = 100;
		}
		if (duration > BENCH_RX_DUR_MAX) {
			duration = BENCH_RX_DUR_MAX;
		}
	}

	int sock = socket(AF_INET, SOCK_DGRAM, IPPROTO_UDP);

	if (sock < 0) {
		shell_error(ctx, "socket create failed: %d", errno);
		return -EIO;
	}

	struct sockaddr_in local = {
		.sin_family = AF_INET,
		.sin_port = htons(port),
	};

	if (bind(sock, (struct sockaddr *)&local, sizeof(local)) < 0) {
		shell_error(ctx, "bind :%d failed: %d", port, errno);
		close(sock);
		return -EIO;
	}

	shell_print(ctx, "RX bench: listening on :%d for %d ms", port, duration);
	shell_print(ctx, "(send UDP to device_ip:%d from host)", port);

	uint32_t t0 = k_uptime_get_32();
	uint32_t deadline = t0 + (uint32_t)duration;
	uint32_t last_print = t0;
	uint32_t pkt_count = 0;
	uint32_t byte_count = 0;

	while (k_uptime_get_32() < deadline) {
		ssize_t n = recvfrom(sock, bench_buf, sizeof(bench_buf),
				     MSG_DONTWAIT, NULL, NULL);
		if (n > 0) {
			pkt_count++;
			byte_count += (uint32_t)n;
		} else {
			k_msleep(1);
		}
		uint32_t now = k_uptime_get_32();

		if (now - last_print >= 1000) {
			shell_print(ctx, "  ... %u pkts, %u B", pkt_count, byte_count);
			last_print = now;
		}
	}

	uint32_t elapsed = k_uptime_get_32() - t0;

	close(sock);

	shell_print(ctx, "done: %u pkts, %u B in %u ms", pkt_count, byte_count, elapsed);
	if (elapsed > 0 && pkt_count > 0) {
		shell_print(ctx, "rate: %u pkt/s, %u B/s",
			    pkt_count * 1000U / elapsed,
			    byte_count * 1000U / elapsed);
	}
	return 0;
}

static int cmd_bench_bidir(const struct shell *ctx, size_t argc, char **argv)
{
	int duration = BENCH_RX_DUR_DEF;
	int size = BENCH_TX_SIZE_DEF;
	int rx_port = BENCH_PORT_RX_DEF;

	if (argc >= 2) {
		duration = (int)strtol(argv[1], NULL, 10);
		if (duration < 100) {
			duration = 100;
		}
		if (duration > BENCH_RX_DUR_MAX) {
			duration = BENCH_RX_DUR_MAX;
		}
	}
	if (argc >= 3) {
		size = (int)strtol(argv[2], NULL, 10);
		if (size < 1) {
			size = 1;
		}
		if (size > BENCH_TX_SIZE_MAX) {
			size = BENCH_TX_SIZE_MAX;
		}
	}
	if (argc >= 4) {
		rx_port = (int)strtol(argv[3], NULL, 10);
		if (rx_port < 1 || rx_port > 65535) {
			shell_error(ctx, "invalid port: %s", argv[3]);
			return -EINVAL;
		}
	}

	if (!gw_net_link_up) {
		shell_error(ctx, "net link down");
		return -EIO;
	}

	int sock = socket(AF_INET, SOCK_DGRAM, IPPROTO_UDP);

	if (sock < 0) {
		shell_error(ctx, "socket create failed: %d", errno);
		return -EIO;
	}

	/* 绑定 RX 端口; 同一 socket 既收又发 (源端口 = rx_port) */
	struct sockaddr_in local = {
		.sin_family = AF_INET,
		.sin_port = htons(rx_port),
	};

	if (bind(sock, (struct sockaddr *)&local, sizeof(local)) < 0) {
		shell_error(ctx, "bind :%d failed: %d", rx_port, errno);
		close(sock);
		return -EIO;
	}

	/* TX 目标 = 上位机 host_ip:bench_port (避开业务端口 9602) */
	struct sockaddr_in dst = {
		.sin_family = AF_INET,
		.sin_port = htons(BENCH_PORT_TX_DEF),
	};

	if (inet_pton(AF_INET, gw_params.host_ip, &dst.sin_addr) != 1) {
		shell_error(ctx, "invalid host ip: %s", gw_params.host_ip);
		close(sock);
		return -EINVAL;
	}

	memset(bench_buf, 0xAA, sizeof(bench_buf));
	shell_print(ctx, "BIDIR: TX->%s:%d  RX on :%d  %d ms  %d B/pkt",
		    gw_params.host_ip, BENCH_PORT_TX_DEF, rx_port, duration, size);
	shell_print(ctx, "(host: send to device_ip:%d, listen on :%d)",
		    rx_port, BENCH_PORT_TX_DEF);

	uint32_t t0 = k_uptime_get_32();
	uint32_t deadline = t0 + (uint32_t)duration;
	uint32_t last_print = t0;
	uint32_t tx_sent = 0, tx_fail = 0;
	uint32_t rx_pkts = 0, rx_bytes = 0;
	uint32_t seq = 0;

	while (k_uptime_get_32() < deadline) {
		/* TX: 发一包 (sendto 经 w5500_tx 阻塞 ~10ms, 自然限速) */
		sys_put_le32(seq++, bench_buf);
		int ret = sendto(sock, bench_buf, size, 0,
				 (struct sockaddr *)&dst, sizeof(dst));
		if (ret < 0) {
			tx_fail++;
		} else {
			tx_sent++;
		}

		/* RX: 排空已到达的包 (每 TX 周期限 32 包, 保证 TX 公平) */
		for (int drain = 0; drain < 32 && k_uptime_get_32() < deadline; drain++) {
			ssize_t n = recvfrom(sock, bench_buf, sizeof(bench_buf),
					     MSG_DONTWAIT, NULL, NULL);

			if (n <= 0) {
				break;
			}
			rx_pkts++;
			rx_bytes += (uint32_t)n;
		}

		uint32_t now = k_uptime_get_32();

		if (now - last_print >= 1000) {
			shell_print(ctx, "  ... TX %u, RX %u pkts", tx_sent, rx_pkts);
			last_print = now;
		}
	}

	uint32_t elapsed = k_uptime_get_32() - t0;

	close(sock);

	uint32_t tx_bytes = tx_sent * (uint32_t)size;

	shell_print(ctx, "TX: %u sent, %u failed, %u B", tx_sent, tx_fail, tx_bytes);
	shell_print(ctx, "RX: %u pkts, %u B", rx_pkts, rx_bytes);
	shell_print(ctx, "time: %u ms", elapsed);
	if (elapsed > 0) {
		shell_print(ctx, "TX rate: %u pkt/s, %u B/s",
			    tx_sent * 1000U / elapsed, tx_bytes * 1000U / elapsed);
		if (rx_pkts > 0) {
			shell_print(ctx, "RX rate: %u pkt/s, %u B/s",
				    rx_pkts * 1000U / elapsed, rx_bytes * 1000U / elapsed);
		}
	}
	return 0;
}

SHELL_STATIC_SUBCMD_SET_CREATE(
	sub_bench_cmds,
	SHELL_CMD_ARG(tx, NULL,
		      "TX benchmark [count=100] [size=64] [ip] [port=19602]",
		      cmd_bench_tx, 1, 4),
	SHELL_CMD_ARG(rx, NULL,
		      "RX benchmark [port=19601] [duration_ms=5000]",
		      cmd_bench_rx, 1, 2),
	SHELL_CMD_ARG(bidir, NULL,
		      "Bidirectional benchmark [duration_ms=5000] [size=64] [rx_port=19601]",
		      cmd_bench_bidir, 1, 3),
	SHELL_SUBCMD_SET_END);

SHELL_STATIC_SUBCMD_SET_CREATE(
	sub_gw_cmds,
	SHELL_CMD_ARG(info, NULL, "Show network config", cmd_gw_info, 1, 0),
	SHELL_CMD_ARG(send, NULL,
		      "Send frame <id_hex> <b0> [b1] ... (payload hex bytes)",
		      cmd_gw_send, 3, 16),
	SHELL_CMD_ARG(ping, NULL, "Send TEST_FRAME (0x777) [count=5]", cmd_gw_ping, 1, 1),
	SHELL_CMD_ARG(ip, NULL, "Get/set IP <addr>", cmd_gw_ip, 1, 1),
	SHELL_CMD_ARG(port, NULL, "Get/set data port <1-65535>", cmd_gw_port, 1, 1),
	SHELL_CMD_ARG(reset, NULL, "Clear all settings (reboot to apply)", cmd_gw_reset, 1, 0),
	SHELL_CMD(bench, &sub_bench_cmds, "UDP performance benchmark", NULL),
	SHELL_SUBCMD_SET_END);

SHELL_CMD_REGISTER(gw, &sub_gw_cmds, "gateway UDP network test commands", NULL);
```

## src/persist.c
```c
/*
 * Copyright (c) 2026 Kabirz.
 * SPDX-License-Identifier: Apache-2.0
 *
 * Settings 持久化存储 - 使用 Zephyr settings 子系统 (FCB 后端)
 */

#include <zephyr/kernel.h>
#include <zephyr/settings/settings.h>
#include <zephyr/logging/log.h>
#include <n2e_gw.h>

LOG_MODULE_REGISTER(gw_persist, LOG_LEVEL_INF);

static int gw_persist_set(const char *name, size_t len, settings_read_cb read_cb, void *cb_arg)
{
	const char *next;
	size_t name_len = settings_name_next(name, &next);

	if (!next && !strncmp(name, "rf24_addr", name_len)) {
		if (len == RF24_ADDR_LEN) {
			read_cb(cb_arg, gw_params.rf24_addr, RF24_ADDR_LEN);
		}
		return 0;
	}

	if (!next && !strncmp(name, "ip_addr", name_len)) {
		if (len < sizeof(gw_params.ip_addr)) {
			read_cb(cb_arg, gw_params.ip_addr, len);
			gw_params.ip_addr[len] = '\0';
		}
		return 0;
	}

	if (!next && !strncmp(name, "data_port", name_len)) {
		if (len == sizeof(uint16_t)) {
			read_cb(cb_arg, &gw_params.data_port, sizeof(uint16_t));
		}
		return 0;
	}

	if (!next && !strncmp(name, "use_dhcp", name_len)) {
		if (len == sizeof(uint8_t)) {
			read_cb(cb_arg, &gw_params.use_dhcp, sizeof(uint8_t));
		}
		return 0;
	}

	if (!next && !strncmp(name, "host_ip", name_len)) {
		if (len < sizeof(gw_params.host_ip)) {
			read_cb(cb_arg, gw_params.host_ip, len);
			gw_params.host_ip[len] = '\0';
		}
		return 0;
	}

	if (!next && !strncmp(name, "host_port", name_len)) {
		if (len == sizeof(uint16_t)) {
			read_cb(cb_arg, &gw_params.host_port, sizeof(uint16_t));
		}
		return 0;
	}

	return -ENOENT;
}

static int gw_persist_export(int (*cb)(const char *name, const void *value, size_t val_len))
{
	(void)cb("gw/rf24_addr", gw_params.rf24_addr, RF24_ADDR_LEN);
	(void)cb("gw/ip_addr", gw_params.ip_addr, strlen(gw_params.ip_addr));
	(void)cb("gw/data_port", &gw_params.data_port, sizeof(gw_params.data_port));
	(void)cb("gw/use_dhcp", &gw_params.use_dhcp, sizeof(gw_params.use_dhcp));
	(void)cb("gw/host_ip", gw_params.host_ip, strlen(gw_params.host_ip));
	(void)cb("gw/host_port", &gw_params.host_port, sizeof(gw_params.host_port));
	return 0;
}

SETTINGS_STATIC_HANDLER_DEFINE(gw_persist, "gw", NULL, gw_persist_set, NULL, gw_persist_export);

static int settings_backend_init(void)
{
	int rc = settings_subsys_init();

	if (rc) {
		LOG_ERR("settings_subsys_init failed: %d", rc);
	} else {
		LOG_INF("Settings subsystem initialized");
		/* 清除旧协议残留的历史键 (掩码/网关/信道已不再持久化).
		 * 不删除的话 settings_load 回放时会打 -ENOENT 错误日志. */
		settings_delete("gw/netmask");
		settings_delete("gw/gateway");
		settings_delete("gw/rf24_channel");
	}
	return rc;
}

void persist_save_rf24_config(void)
{
	settings_save_one("gw/rf24_addr", gw_params.rf24_addr, RF24_ADDR_LEN);
	LOG_INF("Saved rf24 addr=%02x%02x%02x%02x%02x", gw_params.rf24_addr[0],
		gw_params.rf24_addr[1], gw_params.rf24_addr[2], gw_params.rf24_addr[3],
		gw_params.rf24_addr[4]);
}

void persist_save_network_config(void)
{
	settings_save_one("gw/ip_addr", gw_params.ip_addr, strlen(gw_params.ip_addr));
	settings_save_one("gw/data_port", &gw_params.data_port, sizeof(gw_params.data_port));
	settings_save_one("gw/use_dhcp", &gw_params.use_dhcp, sizeof(gw_params.use_dhcp));
	settings_save_one("gw/host_ip", gw_params.host_ip, strlen(gw_params.host_ip));
	settings_save_one("gw/host_port", &gw_params.host_port, sizeof(gw_params.host_port));
	LOG_INF("Saved network: ip=%s port=%d dhcp=%d host=%s:%d", gw_params.ip_addr,
		gw_params.data_port, gw_params.use_dhcp, gw_params.host_ip,
		gw_params.host_port);
}

SYS_INIT(settings_backend_init, APPLICATION, 10);
```

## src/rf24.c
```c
/*
 * Copyright (c) 2026 Kabirz.
 * SPDX-License-Identifier: Apache-2.0
 *
 * nRF24L01P 接收模块 - 从 angle-handler 接收数据
 */

#include <zephyr/kernel.h>
#include <zephyr/device.h>
#include <zephyr/sys/byteorder.h>
#include <zephyr/logging/log.h>
#include <nrf24l01p.h>
#include <n2e_gw.h>
#ifdef CONFIG_NRF24L01P_CRYPT
#include <nrf24_crypt.h>
#endif

LOG_MODULE_REGISTER(gw_rf24, LOG_LEVEL_INF);

#define RF24_PAYLOAD_MAX 32
#define RF24_ID_SIZE     2
#define RF24_TX_TIMEOUT  K_MSEC(100)
#define RF24_TX_RETRIES    5    /* 半双工冲突退避重试次数 (指数退避) */

static const struct device *rf24_dev = DEVICE_DT_GET(DT_NODELABEL(nrf24));
static K_MUTEX_DEFINE(rf24_tx_mutex);

/* RX 帧 msgq */
K_MSGQ_DEFINE(rf24_rx_msgq, sizeof(struct nrf24_frame), 8, 4);

/* ================================================================
 * RF24 配置
 * ================================================================ */
void gw_rf24_set_config(const uint8_t *addr)
{
	memcpy(gw_params.rf24_addr, addr, RF24_ADDR_LEN);

#ifdef CONFIG_NRF24L01P_CRYPT
	/* 地址变更时更新加密密钥 (5B addr 派生) */
	nrf24_crypt_set_key(addr);
#endif

	if (!device_is_ready(rf24_dev)) {
		return;
	}

	struct nrf24_cfg cfg = {
		.channel = RF24_FIXED_CH,
		.address_width = RF24_ADDR_LEN,
		.tx_addr = gw_params.rf24_addr,
	};

	nrf24_configure(rf24_dev, &cfg);
	nrf24_start_rx(rf24_dev);

	LOG_INF("RF24 config: ch=%d addr=%02x%02x%02x%02x%02x", RF24_FIXED_CH, addr[0], addr[1],
		addr[2], addr[3], addr[4]);
}

/* ================================================================
 * RF24 初始化
 * ================================================================ */
void gw_rf24_init(void)
{
	if (!device_is_ready(rf24_dev)) {
		LOG_ERR("nRF24 device not ready");
		gw_led_error_on();   /* 关键硬件初始化失败, 点亮错误灯 */
		return;
	}

	/* 应用配置 */
	gw_rf24_set_config(gw_params.rf24_addr);

	/* 注册 msgq */
	nrf24_add_rx_msgq(rf24_dev, &rf24_rx_msgq);

	/* 进入 PRX 接收模式 */
	int ret = nrf24_start_rx(rf24_dev);

	if (ret != 0) {
		LOG_ERR("nRF24 start RX failed: %d", ret);
		gw_led_error_on();
		return;
	}
	LOG_INF("nRF24 ready (PRX, ch=%d)", RF24_FIXED_CH);
}

/* ================================================================
 * RF24 发送 (向 angle-handler 发送数据)
 * ================================================================ */
bool gw_rf24_send(uint16_t can_id, const uint8_t *data, size_t len)
{
	if (!device_is_ready(rf24_dev)) {
		return false;
	}
#ifdef CONFIG_NRF24L01P_CRYPT
	/* 加密: [ctr 1B][CAN_ID 2B][payload] ≤ 32 → payload ≤ 29 */
	if (len > RF24_PAYLOAD_MAX - RF24_ID_SIZE - 1) {
		return false;
	}
#else
	if (len > RF24_PAYLOAD_MAX - RF24_ID_SIZE) {
		return false;
	}
#endif

	uint8_t buf[RF24_PAYLOAD_MAX];

	sys_put_be16(can_id, buf);
	if (len > 0) {
		memcpy(buf + RF24_ID_SIZE, data, len);
	}

	uint8_t frame_len = (uint8_t)(len + RF24_ID_SIZE);

#ifdef CONFIG_NRF24L01P_CRYPT
	/* 原地加密: buf 从 [CAN_ID][data] 变为 [ctr][ciphertext], 长度 +1 */
	frame_len = nrf24_crypt_seal(buf, frame_len);
	if (frame_len == 0) {
		return false;
	}
#endif

	struct nrf24_tx_result result;

	/* 半双工冲突退避重试: 双向自发通信时两边可能同时切 PTX, 互相收不到
	 * ACK → MAX_RT 双失败. 失败后指数退避再重试, 打破同步避免再次撞车.
	 * 退避窗口随重试次数翻倍 (3/7/15/31/63ms 上限), 高冲突时逐步拉开
	 * 间距, 比固定窗口更易躲开对端连续 PTX. 退避在 mutex 外, 让出空隙. */
	int ret;

	for (int attempt = 0; ; attempt++) {
		k_mutex_lock(&rf24_tx_mutex, K_FOREVER);
		ret = nrf24_send(rf24_dev, buf, frame_len, RF24_TX_TIMEOUT, &result);
		k_mutex_unlock(&rf24_tx_mutex);

		if (ret == 0 || attempt >= RF24_TX_RETRIES) {
			break;
		}
		/* 指数退避: attempt 0→上限3ms, 1→7, 2→15, 3→31, 4→63; 加 1ms 下限 */
		uint32_t backoff = 1 + (k_uptime_get_32() % ((1U << (attempt + 1)) + 1));

		k_msleep(backoff);
	}

	if (ret != 0) {
		LOG_WRN("nRF24 send failed (id=0x%03x ret=%d tries=%d)", can_id, ret,
			RF24_TX_RETRIES + 1);
		return false;
	}

	if (gw_params.log) {
		LOG_INF("TX id=0x%03x len=%zu acked=%d retrans=%d", can_id, len,
			result.acked, result.retransmits);
	}

	gw_led_rf24_activity();   /* 标记 2.4G 发送活动 (零阻塞) */
	return true;
}

/* ================================================================
 * RF24 接收线程
 * ================================================================ */
static void rf24_rx_thread(void)
{
	if (!device_is_ready(rf24_dev)) {
		LOG_ERR("nRF24 device not ready, RX thread exit");
		return;
	}

	struct nrf24_frame frame;

	while (1) {
		if (k_msgq_get(&rf24_rx_msgq, &frame, K_MSEC(200)) != 0) {
			continue;
		}
		if (frame.len < RF24_ID_SIZE) {
			continue;
		}

#ifdef CONFIG_NRF24L01P_CRYPT
		/* 原地解密: [ctr][ciphertext] → [CAN_ID][plaintext], 长度 -1.
		 * 窗口外/重放帧返回 0, 静默丢弃. */
		uint8_t pt_len = nrf24_crypt_open(frame.data, frame.len);
		if (pt_len == 0) {
			continue;
		}
		frame.len = pt_len;
#endif

		gw_led_rf24_activity();   /* 标记 2.4G 接收活动 (零阻塞) */

		uint16_t can_id = sys_get_be16(frame.data);
		uint8_t data_len = frame.len - RF24_ID_SIZE;
		const uint8_t *data = frame.data + RF24_ID_SIZE;

		if (gw_params.log) {
			LOG_INF("RX id=0x%03x len=%d", can_id, data_len);
		}

		/* 测试帧 (TEST_FRAME): 交给 rf24_shell 处理 (ping/echo/data) */
		if (can_id == TEST_FRAME) {
			rf24_test_handle_rx(data, data_len);
			continue;
		}

		/* 只转发 HANDLER_STATE 和心跳帧 */
		if (can_id != HANDLER_STATE && can_id != COBID_HEATBEAT) {
			continue;
		}

		/* nRF24 数据通过 UDP 转发给上位机 */
		gw_udp_send(frame.data, frame.len);
	}
}

K_THREAD_DEFINE(thread_rf24_rx, CONFIG_N2E_GW_RF24_RX_STACK, rf24_rx_thread, NULL, NULL, NULL,
		CONFIG_N2E_GW_RF24_RX_PRIORITY, 0, 0);
```
